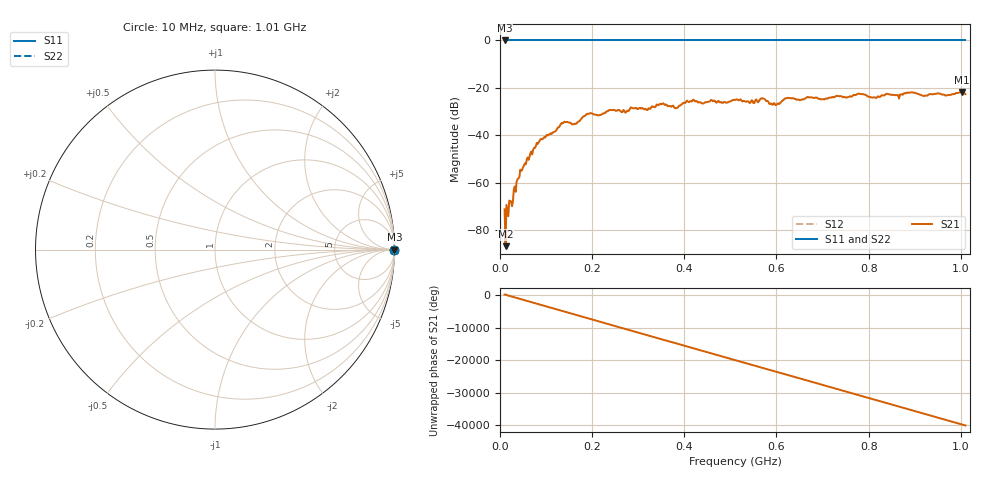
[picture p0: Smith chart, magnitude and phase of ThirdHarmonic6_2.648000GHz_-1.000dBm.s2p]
! 8/17/2025 6:01:40 AM
! C:\ANRITSUVNA\TEMP\TEMP.S2P
! CHANNEL.1
! TR.MEASUREMENT
! RAW.DATA
! RF.CORRECTION.OFF
! AVERAGING.OFF
! IF.BANDWIDTH: 5KHZ
! SWEEPTYPE:  FREQ.SWEEP(Linear)
! Reference Plane Port Info
! PORT:  PORT1  PORT2
! DISTANCE:  0  m  0  m
! TIME:  0  s  0  s
! PHASE.OFFSET:  0  deg.  0  deg.
! LOSS:  0  dB  0  dB
! REF.LOSS:  0  dB  0  dB
! REF.FREQ:  0  Hz  0  Hz
! Power Info
! POWER:  -20  dBm  -20  dBm
! EFF.POWER:  -20  dBm  -20  dBm
! SOURCE.ATTEN:  0  dB  0  dB
! TEST.ATTEN:  0  dB  0  dB
# GHZ S RI R 50.0
! FREQ.GHZ  S11RE  S11IM  S21RE  S21IM  S12RE  S12IM  S22RE  S22IM
!; PortSelection: Port_12
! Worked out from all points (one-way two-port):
!   501 points, 10 MHz to 1.01 GHz, reference 50 ohm
!   highest |S21| = -21.70 dB at 1.002 GHz (marker M1); lowest = -86.7 dB at 12 MHz (marker M2)
!   lowest |S11| = 0.0 dB at 10 MHz (marker M3)
!   |S11| at or under -10 dB: nowhere
!   |S22| runs from 0.0 to 0.0 dB; largest |S21 - S12| = 1.1
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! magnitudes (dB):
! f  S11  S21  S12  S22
! 10 MHz  0.0  -71.2  0.0  0.0
! 12 MHz  0.0  -86.7  0.0  0.0
! 16 MHz  0.0  -71.8  0.0  0.0
! 18 MHz  0.0  -74.1  0.0  0.0
! 48 MHz  0.0  -54.6  0.0  0.0
! 84 MHz  0.0  -42.9  0.0  0.0
! 136 MHz  0.0  -34.9  0.0  0.0
! 162 MHz  0.0  -35.1  0.0  0.0
! 178 MHz  0.0  -32.6  0.0  0.0
! 194 MHz  0.0  -30.9  0.0  0.0
! 322 MHz  0.0  -28.6  0.0  0.0
! 344 MHz  0.0  -27.3  0.0  0.0
! 382 MHz  0.0  -28.5  0.0  0.0
! 416 MHz  0.0  -25.7  0.0  0.0
! 510 MHz  0.0  -25.0  0.0  0.0
! 570 MHz  0.0  -24.5  0.0  0.0
! 596 MHz  0.0  -26.6  0.0  0.0
! 622 MHz  0.0  -24.3  0.0  0.0
! 678 MHz  0.0  -24.0  0.0  0.0
! 844 MHz  0.0  -22.7  0.0  0.0
! 1.002 GHz  0.0  -21.7  0.0  0.0
! 1.01 GHz  0.0  -22.6  0.0  0.0
